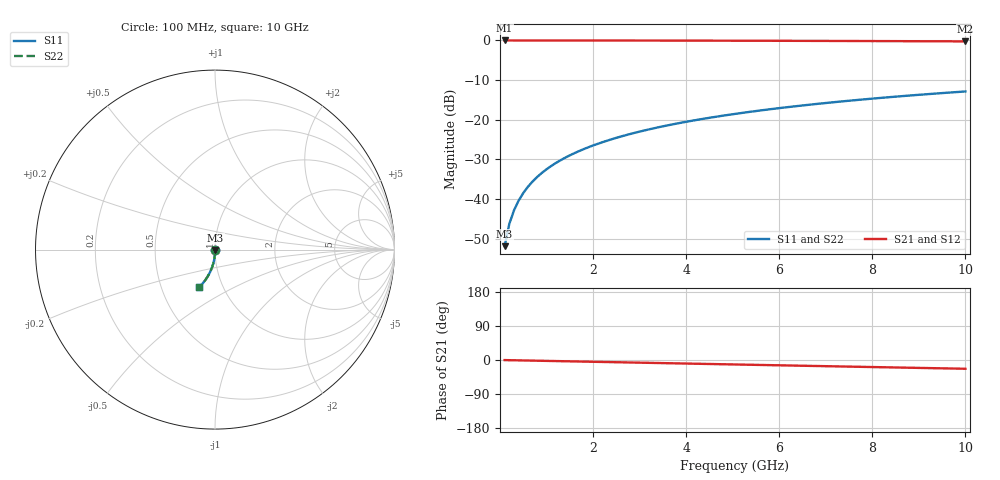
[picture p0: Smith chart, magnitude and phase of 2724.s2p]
# Hz S RI R 50.00
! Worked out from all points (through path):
!   100 points, 100 MHz to 10 GHz, reference 50 ohm
!   highest |S21| = -0.01 dB at 100 MHz (marker M1); lowest = -0.2 dB at 10 GHz (marker M2)
!   group delay of S21, straight-line fit = 6.43 ps
!   lowest |S11| = -51.9 dB at 100 MHz (marker M3), VSWR 1.01, Z = 50.1 - j0.238 ohm
!   |S11| at or under -10 dB: start of sweep to end of sweep
!   |S22| runs from -51.9 to -12.9 dB; largest |S21 - S12| = 0
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1e8  0.000914 -0.00237  0.9991 -0.00409  0.9991 -0.00409  0.000914 -0.00237
2e8  0.000888 -0.00474  0.999 -0.00818  0.999 -0.00818  0.000888 -0.00474
3e8  0.000841 -0.00712  0.999 -0.0123  0.999 -0.0123  0.000841 -0.00712
4e8  0.000774 -0.00949  0.9989 -0.0164  0.9989 -0.0164  0.000774 -0.00949
5e8  0.000687 -0.0119  0.9988 -0.0204  0.9988 -0.0204  0.000687 -0.0119
6e8  0.00058 -0.0142  0.9986 -0.0245  0.9986 -0.0245  0.00058 -0.0142
7e8  0.000453 -0.0166  0.9985 -0.0286  0.9985 -0.0286  0.000453 -0.0166
8e8  0.000307 -0.019  0.9983 -0.0327  0.9983 -0.0327  0.000307 -0.019
9e8  0.000142 -0.0213  0.9981 -0.0368  0.9981 -0.0368  0.000142 -0.0213
1.1e9  -0.000248 -0.0261  0.9977 -0.0449  0.9977 -0.0449  -0.000248 -0.0261
1.4e9  -0.000977 -0.0331  0.9968 -0.0572  0.9968 -0.0572  -0.000977 -0.0331
1.8e9  -0.00222 -0.0425  0.9954 -0.0734  0.9954 -0.0734  -0.00222 -0.0425
2.1e9  -0.00335 -0.0495  0.994 -0.0856  0.994 -0.0856  -0.00335 -0.0495
2.5e9  -0.00513 -0.0589  0.992 -0.1018  0.992 -0.1018  -0.00513 -0.0589
2.9e9  -0.00721 -0.0681  0.9896 -0.1179  0.9896 -0.1179  -0.00721 -0.0681
3.4e9  -0.0102 -0.0795  0.9861 -0.1379  0.9861 -0.1379  -0.0102 -0.0795
4.2e9  -0.016 -0.0975  0.9794 -0.1696  0.9794 -0.1696  -0.016 -0.0975
5.1e9  -0.0238 -0.1171  0.9703 -0.2048  0.9703 -0.2048  -0.0238 -0.1171
5.9e9  -0.032 -0.134  0.9608 -0.2354  0.9608 -0.2354  -0.032 -0.134
6.7e9  -0.0411 -0.1502  0.9501 -0.2655  0.9501 -0.2655  -0.0411 -0.1502
8.4e9  -0.0637 -0.1824  0.9236 -0.327  0.9236 -0.327  -0.0637 -0.1824
1e10  -0.0884 -0.2092  0.8944 -0.3816  0.8944 -0.3816  -0.0884 -0.2092
